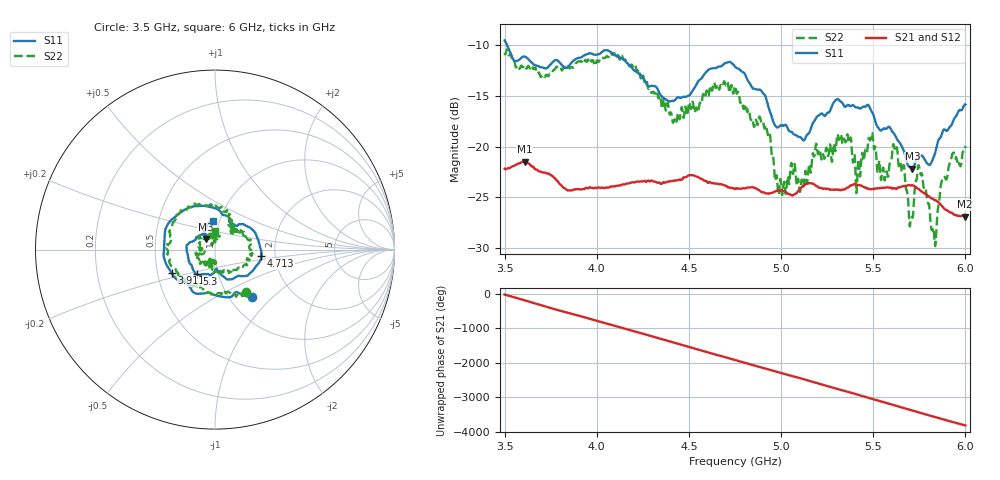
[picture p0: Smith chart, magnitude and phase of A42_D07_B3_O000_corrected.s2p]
! Created with skrf 1.9.0 (http://scikit-rf.org).
# Hz S RI R 50.0
!freq ReS11 ImS11 ReS21 ImS21 ReS12 ImS12 ReS22 ImS22
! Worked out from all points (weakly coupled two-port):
!   1601 points, 3.5 GHz to 6 GHz, reference 50 ohm
!   highest |S21| = -21.48 dB at 3.609 GHz (marker M1); lowest = -26.9 dB at 5.995 GHz (marker M2)
!   lowest |S11| = -22.2 dB at 5.713 GHz (marker M3), VSWR 1.17, Z = 44.9 + j5.38 ohm
!   |S11| at or under -10 dB: 3.514 GHz to end of sweep
!   |S22| runs from -29.8 to -10.4 dB; largest |S21 - S12| = 0.00096
!   S11 on the Smith chart (normalised r, x): 3.5 GHz: 1.27, -0.75; 3.911 GHz: 0.59, -0.17; 4.713 GHz: 1.69, -0.13; 5.3 GHz: 0.79, -0.22; 6 GHz: 0.93, +0.31
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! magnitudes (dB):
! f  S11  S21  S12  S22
! 3.5 GHz  -9.5  -22.2  -22.2  -10.8
! 3.609 GHz  -11.1  -21.5  -21.5  -12.0
! 3.911 GHz  -11.2  -24.2  -24.2  -11.6
! 3.917 GHz  -11.2  -24.2  -24.2  -11.6
! 4.334 GHz  -14.5  -23.5  -23.5  -15.2
! 4.422 GHz  -15.4  -23.3  -23.3  -17.3
! 4.713 GHz  -11.7  -24.0  -24.0  -13.9
! 4.75 GHz  -12.1  -24.2  -24.1  -14.0
! 4.928 GHz  -15.8  -24.6  -24.6  -18.9
! 4.995 GHz  -17.9  -24.3  -24.3  -23.2
! 5.167 GHz  -17.9  -23.6  -23.6  -21.4
! 5.3 GHz  -15.4  -24.2  -24.2  -19.6
! 5.417 GHz  -16.1  -23.8  -23.8  -21.7
! 5.486 GHz  -16.3  -24.2  -24.2  -19.2
! 5.584 GHz  -18.0  -24.0  -24.0  -22.4
! 5.619 GHz  -18.9  -24.1  -24.1  -20.4
! 5.713 GHz  -22.2  -23.8  -23.8  -27.0
! 5.753 GHz  -20.9  -24.3  -24.2  -22.3
! 5.831 GHz  -20.9  -25.2  -25.2  -28.9
! 5.877 GHz  -18.5  -25.9  -25.9  -23.2
! 5.995 GHz  -15.9  -26.9  -26.8  -20.4
! 6 GHz  -15.8  -26.9  -26.8  -19.9
